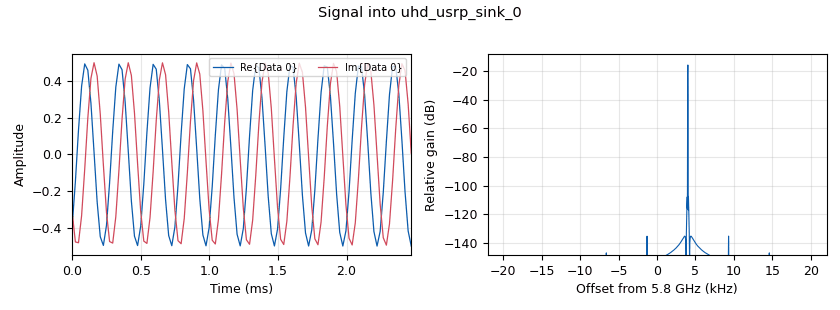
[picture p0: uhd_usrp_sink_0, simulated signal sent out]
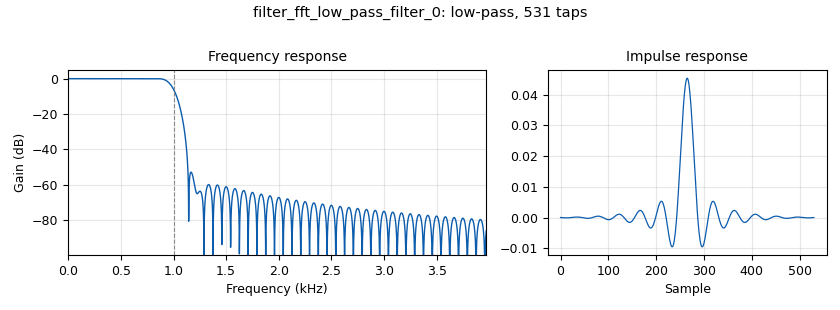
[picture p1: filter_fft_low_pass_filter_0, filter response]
options:
  parameters:
    generate_options: qt_gui
    id: GNUTest
    output_language: python
    title: Not titled yet
  states: {}

blocks:
- name: fc
  id: variable
  parameters:
    value: 5.8e9
  states: {}
- name: foffset
  id: variable
  parameters:
    value: '4000'
  states: {}
- name: samp_rate
  id: variable
  parameters:
    value: '44100'
  states: {}
- name: analog_sig_source_x_0
  id: analog_sig_source_x
  parameters:
    amp: '0.5'
    freq: foffset
    offset: '0'
    phase: '0'
    samp_rate: samp_rate
    type: complex
    waveform: analog.GR_COS_WAVE
  states: {}
- name: blocks_complex_to_float_0
  id: blocks_complex_to_float
  parameters: {}
  states: {}
- name: blocks_multiply_conjugate_cc_0
  id: blocks_multiply_conjugate_cc
  parameters: {}
  states: {}
- name: blocks_wavfile_sink_0
  id: blocks_wavfile_sink
  parameters:
    bits_per_sample1: FORMAT_PCM_16
    file: C:\Users\panet\Desktop\RADAR PROJECT\REVIEW 5\REVIEW 5\Audios\RealPartCWIF.wav
    format: FORMAT_WAV
    samp_rate: '44100'
  states: {}
- name: blocks_wavfile_sink_1
  id: blocks_wavfile_sink
  parameters:
    bits_per_sample1: FORMAT_PCM_16
    file: C:\Users\panet\Desktop\RADAR PROJECT\REVIEW 5\REVIEW 5\Audios\ImaginaryPartCWIF.wav
    format: FORMAT_WAV
    samp_rate: '44100'
  states: {}
- name: dc_blocker_xx_0_1
  id: dc_blocker_xx
  parameters:
    length: '32'
    long_form: 'True'
    type: cc
  states: {}
- name: dc_blocker_xx_0_1_0
  id: dc_blocker_xx
  parameters:
    length: '32'
    long_form: 'True'
    type: cc
  states: {}
- name: filter_fft_low_pass_filter_0
  id: filter_fft_low_pass_filter
  parameters:
    cutoff_freq: '1000'
    decim: '1'
    gain: '1'
    samp_rate: samp_rate
    type: ccc
    width: '200'
    win: window.WIN_HAMMING
  states: {}
- name: qtgui_waterfall_sink_x_1
  id: qtgui_waterfall_sink_x
  parameters:
    bw: samp_rate
    fc: '0'
    fftsize: '1024'
    type: float
  states: {}
- name: uhd_usrp_sink_0
  id: uhd_usrp_sink
  parameters:
    ant0: '"TX/RX"'
    center_freq0: '5800000000'
    gain0: '60'
    samp_rate: samp_rate
    sync: sync
    type: fc32
  states: {}
- name: uhd_usrp_source_0
  id: uhd_usrp_source
  parameters:
    ant0: '"RX2"'
    center_freq0: '5800000000'
    gain0: '40'
    samp_rate: samp_rate
    sync: sync
    type: fc32
  states: {}

connections:
- [analog_sig_source_x_0, '0', dc_blocker_xx_0_1, '0']
- [analog_sig_source_x_0, '0', uhd_usrp_sink_0, '0']
- [blocks_complex_to_float_0, '0', blocks_wavfile_sink_0, '0']
- [blocks_complex_to_float_0, '0', qtgui_waterfall_sink_x_1, '0']
- [blocks_complex_to_float_0, '1', blocks_wavfile_sink_1, '0']
- [blocks_multiply_conjugate_cc_0, '0', filter_fft_low_pass_filter_0, '0']
- [dc_blocker_xx_0_1, '0', blocks_multiply_conjugate_cc_0, '1']
- [dc_blocker_xx_0_1_0, '0', blocks_multiply_conjugate_cc_0, '0']
- [filter_fft_low_pass_filter_0, '0', blocks_complex_to_float_0, '0']
- [uhd_usrp_source_0, '0', dc_blocker_xx_0_1_0, '0']

metadata:
  file_format: 1
  grc_version: 3.10.6.0
